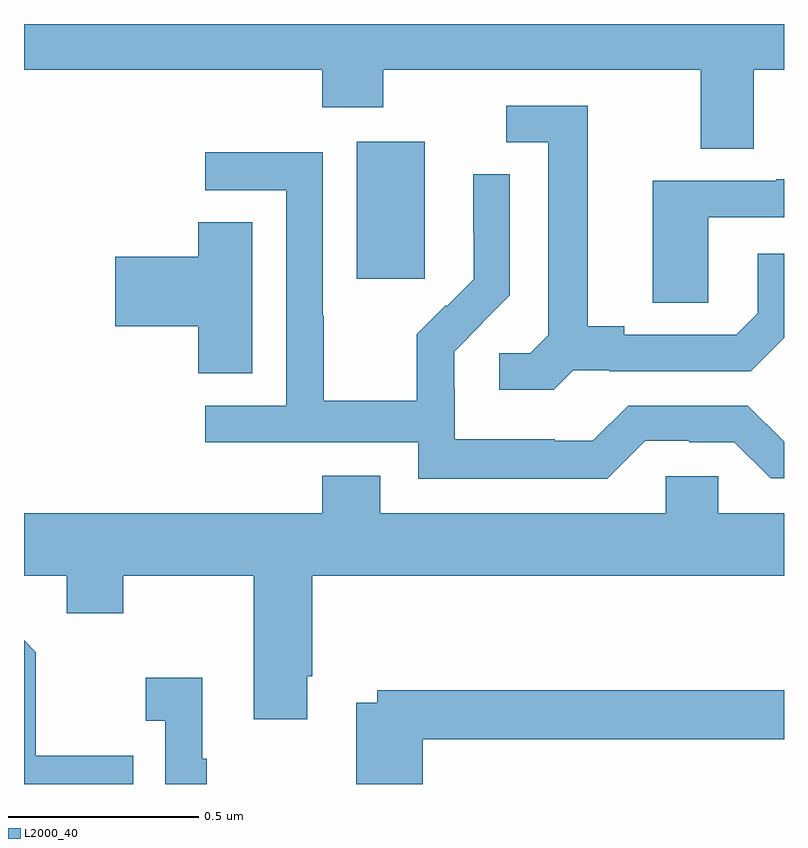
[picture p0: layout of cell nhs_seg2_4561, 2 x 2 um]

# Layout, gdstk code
import gdstk
lib = gdstk.Library(unit=1e-6, precision=1e-09)
def R(c, l, rs):  # rectangles x0, y0, x1, y1
    for r in rs: c.add(gdstk.rectangle(r[:2], r[2:], *l))
def P(c, l, *ps):  # polygons
    for p in ps: c.add(gdstk.Polygon(p, *l))
L2000_40 = (2000, 40)

nhs_seg2_4561 = lib.new_cell('nhs_seg2_4561')
R(nhs_seg2_4561, L2000_40, [(168.875,603.129,169.054,603.49)])
P(nhs_seg2_4561, L2000_40, [(169.921,603.68),(170,603.68),(170,603.8),(168,603.8),(168,603.68),(168.785,603.68),(168.785,603.581),(168.945,603.581),(168.945,603.68),(169.781,603.68),(169.781,603.472),(169.921,603.472)],
  [(169.446,602.889),(169.54,602.889),(169.54,602.886),(169.912,602.886),(170,602.974),(170,603.196),(169.931,603.196),(169.931,603.039),(169.874,602.982),(169.579,602.982),(169.579,603.005),(169.483,603.005),(169.483,603.585),(169.269,603.585),(169.269,603.489),(169.379,603.489),(169.379,602.981),(169.332,602.934),(169.251,602.934),(169.251,602.837),(169.394,602.837)],
  [(169.635,602.703),(169.751,602.703),(169.751,602.7),(169.869,602.7),(169.965,602.604),(170,602.604),(170,602.701),(169.905,602.796),(169.59,602.796),(169.497,602.703),(169.397,602.703),(169.397,602.707),(169.134,602.707),(169.134,602.841),(169.132,602.841),(169.132,602.938),(169.206,603.012),(169.205,603.013),(169.278,603.086),(169.278,603.404),(169.182,603.404),(169.182,603.25),(169.184,603.25),(169.184,603.128),(169.113,603.057),(169.11,603.06),(169.033,602.983),(169.033,602.809),(168.789,602.809),(168.789,603.032),(168.786,603.032),(168.786,603.462),(168.477,603.462),(168.477,603.363),(168.69,603.363),(168.69,602.796),(168.477,602.796),(168.477,602.7),(169.038,602.7),(169.038,602.603),(169.535,602.603)],
  [(169.8,603.291),(170,603.291),(170,603.391),(169.979,603.391),(169.979,603.387),(169.655,603.387),(169.655,603.067),(169.8,603.067)],
  [(168.601,603.278),(168.458,603.278),(168.458,603.188),(168.24,603.188),(168.24,603.005),(168.458,603.005),(168.458,602.881),(168.601,602.881)],
  [(168.745,602.083),(168.758,602.083),(168.758,602.348),(170,602.348),(170,602.512),(169.827,602.512),(169.827,602.61),(169.689,602.61),(169.689,602.512),(168.937,602.512),(168.937,602.611),(168.785,602.611),(168.785,602.512),(168,602.512),(168,602.348),(168.113,602.348),(168.113,602.249),(168.261,602.249),(168.261,602.348),(168.605,602.348),(168.605,601.971),(168.745,601.971)],
  [(168.287,601.875),(168.031,601.875),(168.031,602.147),(168,602.178),(168,601.8),(168.287,601.8)],
  [(168.481,601.867),(168.469,601.867),(168.469,602.08),(168.321,602.08),(168.321,601.967),(168.372,601.967),(168.372,601.8),(168.481,601.8)],
  [(169.049,601.918),(170,601.918),(170,602.047),(168.93,602.047),(168.93,602.014),(168.874,602.014),(168.874,601.8),(169.049,601.8)])

lib.write_gds('nhs_seg2_4561.gds')
